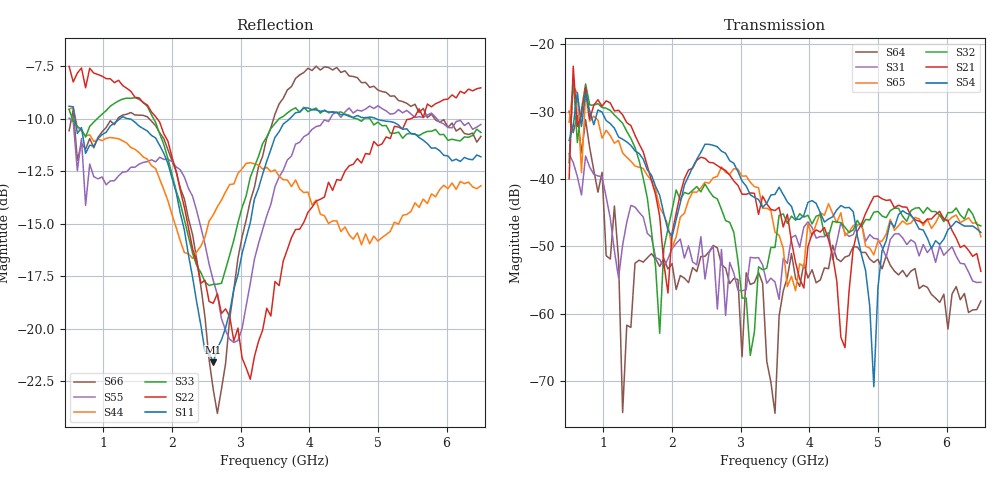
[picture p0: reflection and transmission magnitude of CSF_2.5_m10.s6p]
!Keysight Technologies,M9804A,MY58100912,A.14.10.03
!Date: Thursday, April 27, 2023 10:28:33
!Correction: S11(C  6-Port  )
!S12(C  6-Port  )
!S13(C  6-Port  )
!S14(C  6-Port  )
!S15(C  6-Port  )
!S16(C  6-Port  )
!S21(C  6-Port  )
!S22(C  6-Port  )
!S23(C  6-Port  )
!S24(C  6-Port  )
!S25(C  6-Port  )
!S26(C  6-Port  )
!S31(C  6-Port  )
!S32(C  6-Port  )
!S33(C  6-Port  )
!S34(C  6-Port  )
!S35(C  6-Port  )
!S36(C  6-Port  )
!S41(C  6-Port  )
!S42(C  6-Port  )
!S43(C  6-Port  )
!S44(C  6-Port  )
!S45(C  6-Port  )
!S46(C  6-Port  )
!S51(C  6-Port  )
!S52(C  6-Port  )
!S53(C  6-Port  )
!S54(C  6-Port  )
!S55(C  6-Port  )
!S56(C  6-Port  )
!S61(C  6-Port  )
!S62(C  6-Port  )
!S63(C  6-Port  )
!S64(C  6-Port  )
!S65(C  6-Port  )
!S66(C  6-Port  )
!S6P File: Measurement: :
# Hz S  RI  R 50
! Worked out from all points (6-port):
!   101 points, 500 MHz to 6.5 GHz, reference 50 ohm
!   strongest paths, dB at 500 MHz, 2 GHz, 3.5 GHz, 5 GHz, 6.5 GHz:
!     S54: -34.3, -48.6, -42.3, -56.1, -47.9
!     S21: -40.0, -48.0, -44.7, -42.5, -53.7
!     S32: -37.6, -44.6, -50.2, -44.8, -47.0
!     S65: -31.6, -50.2, -47.9, -49.2, -48.6
!     S31: -36.3, -50.3, -55.3, -48.9, -55.3
!     S64: -29.9, -52.6, -74.8, -51.9, -58.1
!   lowest |S11| = -21.6 dB at 2.6 GHz (marker M1), VSWR 1.18, Z = 42.6 + j1.98 ohm
!   |S11| at or under -10 dB: 586.8 MHz to 1.242 GHz (655.6 MHz wide, 71.7 % of centre); 1.358 GHz to 3.715 GHz (2.356 GHz wide, 92.9 % of centre); 4.97 GHz to end of sweep
